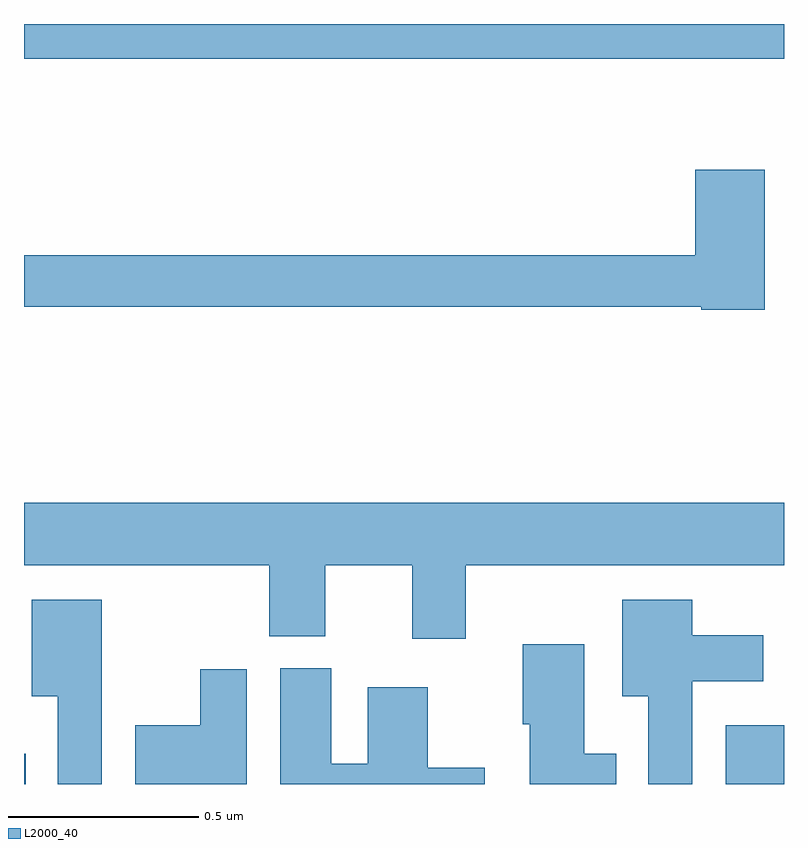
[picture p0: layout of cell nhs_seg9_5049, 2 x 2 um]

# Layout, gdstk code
import gdstk
lib = gdstk.Library(unit=1e-6, precision=1e-09)
def R(c, l, rs):  # rectangles x0, y0, x1, y1
    for r in rs: c.add(gdstk.rectangle(r[:2], r[2:], *l))
def P(c, l, *ps):  # polygons
    for p in ps: c.add(gdstk.Polygon(p, *l))
L2000_40 = (2000, 40)

nhs_seg9_5049 = lib.new_cell('nhs_seg9_5049')
R(nhs_seg9_5049, L2000_40, [(174,1206.5,174.004,1206.58), (175.847,1206.5,176,1206.655), (174,1208.408,176,1208.5)])
P(nhs_seg9_5049, L2000_40, [(175.949,1208.116),(175.766,1208.116),(175.766,1207.892),(174,1207.892),(174,1207.756),(175.782,1207.756),(175.782,1207.748),(175.949,1207.748)],
  [(175.162,1207.076),(176,1207.076),(176,1207.24),(174,1207.24),(174,1207.076),(174.646,1207.076),(174.646,1206.889),(174.793,1206.889),(174.793,1207.076),(175.022,1207.076),(175.022,1206.882),(175.162,1206.882)],
  [(174.205,1206.985),(174.02,1206.985),(174.02,1206.731),(174.089,1206.731),(174.089,1206.5),(174.205,1206.5)],
  [(175.759,1206.77),(175.945,1206.77),(175.945,1206.892),(175.759,1206.892),(175.759,1206.985),(175.574,1206.985),(175.574,1206.731),(175.643,1206.731),(175.643,1206.5),(175.759,1206.5)],
  [(175.558,1206.58),(175.474,1206.58),(175.474,1206.868),(175.313,1206.868),(175.313,1206.657),(175.331,1206.657),(175.331,1206.5),(175.558,1206.5)],
  [(175.213,1206.543),(175.063,1206.543),(175.063,1206.754),(174.905,1206.754),(174.905,1206.553),(174.808,1206.553),(174.808,1206.804),(174.674,1206.804),(174.674,1206.5),(175.213,1206.5)],
  [(174.586,1206.802),(174.464,1206.802),(174.464,1206.655),(174.293,1206.655),(174.293,1206.5),(174.586,1206.5)])

lib.write_gds('nhs_seg9_5049.gds')
